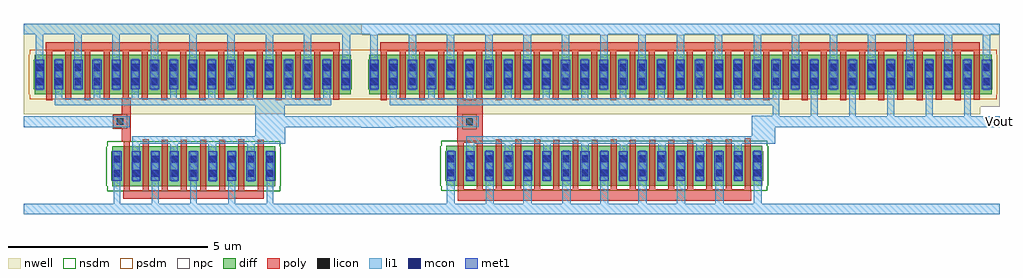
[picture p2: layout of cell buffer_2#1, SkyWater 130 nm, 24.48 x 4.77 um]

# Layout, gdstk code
import gdstk
lib = gdstk.Library(unit=1e-6, precision=1e-09)
def R(c, l, rs):  # rectangles x0, y0, x1, y1
    for r in rs: c.add(gdstk.rectangle(r[:2], r[2:], *l))
def A(c, l, x, y, w, h, nx, ny, dx, dy):  # array of equal rectangles
    R(c, l, [(x+i*dx, y+j*dy, x+i*dx+w, y+j*dy+h) for i in range(nx) for j in range(ny)])
nwell = (64, 20)
diff = (65, 20)
poly = (66, 20)
licon = (66, 44)
li1 = (67, 20)
mcon = (67, 44)
met1 = (68, 20)
nsdm = (93, 44)
psdm = (94, 20)
npc = (95, 20)

sky130_fd_pr__pfet_01v8_ = lib.new_cell('sky130_fd_pr__pfet_01v8_3M44SC')
R(sky130_fd_pr__pfet_01v8_, nwell, [(-8.005,-1,7.525,-0.81), (-8.005,-0.81,8.005,0.81), (-7.525,0.81,8.005,1)])
R(sky130_fd_pr__pfet_01v8_, diff, [(-7.805,-0.5,7.805,-0.37), (-7.825,-0.37,7.825,0.37), (-7.805,0.37,7.805,0.5)])
A(sky130_fd_pr__pfet_01v8_, poly, -7.515, -0.64, 0.15, 1.27, 16, 1, 0.96, 0)
A(sky130_fd_pr__pfet_01v8_, poly, -7.035, -0.63, 0.15, 1.28, 16, 1, 0.96, 0)
A(sky130_fd_pr__pfet_01v8_, licon, -7.765, -0.255, 0.17, 0.17, 33, 2, 0.48, 0.34)
A(sky130_fd_pr__pfet_01v8_, li1, -7.765, -0.39, 0.17, 0.78, 33, 1, 0.48, 0)
A(sky130_fd_pr__pfet_01v8_, mcon, -7.765, -0.265, 0.17, 0.17, 33, 2, 0.48, 0.36)
A(sky130_fd_pr__pfet_01v8_, met1, -7.795, -0.37, 0.23, 0.74, 33, 1, 0.48, 0)
R(sky130_fd_pr__pfet_01v8_, psdm, [(-7.93,-0.625,7.93,-0.495), (-7.95,-0.495,7.95,0.495), (-7.93,0.495,7.93,0.625)])

sky130_fd_pr__nfet_01v8_ = lib.new_cell('sky130_fd_pr__nfet_01v8_VJWT33')
R(sky130_fd_pr__nfet_01v8_, diff, [(-3.965,-0.5,3.965,-0.37), (-3.985,-0.37,3.985,0.37), (-3.965,0.37,3.965,0.5)])
A(sky130_fd_pr__nfet_01v8_, poly, -2.715, -0.59, 0.15, 1.26, 3, 1, 0.48, 0)
A(sky130_fd_pr__nfet_01v8_, poly, -1.275, -0.59, 0.15, 1.25, 3, 1, 0.48, 0)
A(sky130_fd_pr__nfet_01v8_, poly, 0.645, -0.59, 0.15, 1.25, 4, 1, 0.48, 0)
R(sky130_fd_pr__nfet_01v8_, poly, [(-3.675,-0.88,3.685,-0.59), (-3.675,-0.59,-3.525,0.63), (-3.195,-0.59,-3.045,0.66), (0.165,-0.59,0.315,0.67), (2.565,-0.59,2.715,0.67), (3.045,-0.59,3.195,0.67), (3.525,-0.59,3.675,0.69)])
A(sky130_fd_pr__nfet_01v8_, licon, -3.925, -0.255, 0.17, 0.17, 17, 2, 0.48, 0.34)
A(sky130_fd_pr__nfet_01v8_, li1, -3.445, -0.39, 0.17, 0.78, 8, 1, 0.96, 0)
R(sky130_fd_pr__nfet_01v8_, li1, [(-2.975,-1.09,-2.765,-0.36), (-2.025,-1.07,-1.815,-0.34), (-3.955,-1.05,-3.745,-0.32), (3.745,-1.05,3.955,-0.32), (-0.105,-1.04,0.105,-0.31), (0.855,-1.04,1.065,-0.31), (1.825,-1.02,2.035,-0.29), (2.785,-1.02,2.995,-0.29), (-1.055,-1.01,-0.845,-0.28), (-2.965,-0.36,-2.795,0.39), (-2.005,-0.34,-1.835,0.39), (-3.925,-0.32,-3.755,0.39), (3.755,-0.32,3.925,0.39), (-0.085,-0.31,0.085,0.39), (0.875,-0.31,1.045,0.39), (1.835,-0.29,2.005,0.39), (2.795,-0.29,2.965,0.39), (-1.045,-0.28,-0.875,0.39)])
A(sky130_fd_pr__nfet_01v8_, mcon, -3.925, -0.265, 0.17, 0.17, 17, 2, 0.48, 0.36)
A(sky130_fd_pr__nfet_01v8_, met1, -3.955, -0.37, 0.23, 0.74, 17, 1, 0.48, 0)
R(sky130_fd_pr__nfet_01v8_, nsdm, [(-4.09,-0.625,4.09,-0.495), (-4.11,-0.495,4.11,0.495), (-4.09,0.495,4.09,0.625)])

inv_w16 = lib.new_cell('inv_W16')
A(inv_w16, nwell, 4.49, 2.9, 0.17, 0.23, 3, 1, 1.92, 0)
R(inv_w16, nwell, [(2.99,2.73,9.29,2.9), (3.53,2.9,3.7,3.15), (5.45,2.9,5.62,3.15), (7.37,2.9,7.54,3.14), (0.41,4.07,15.44,4.3)])
R(inv_w16, poly, [(2.34,1.79,2.98,2.87), (0.41,4.08,15.44,4.31)])
R(inv_w16, licon, [(2.56,2.23,2.73,2.4)])
A(inv_w16, li1, 1.61, 2.9, 0.17, 0.25, 3, 1, 1.92, 0)
A(inv_w16, li1, 2.57, 2.9, 0.17, 0.23, 4, 1, 1.92, 0)
A(inv_w16, li1, 0.16, 3.85, 0.19, 0.66, 3, 1, 0.96, 0)
R(inv_w16, li1, [(-0.07,0,15.94,0.26), (3.53,1.5,3.72,1.77), (5.45,1.51,5.64,1.77), (4.5,1.52,4.69,1.77), (7.38,1.52,7.57,1.77), (6.41,1.54,6.6,1.77), (8.33,1.54,8.52,1.77), (9.29,1.54,9.48,1.77), (2.57,1.57,2.76,1.77), (2.56,1.77,10.31,1.95), (9.72,1.95,10.31,2.18), (-0.07,2.17,0.76,2.18), (-0.07,2.18,2.88,2.45), (9.72,2.18,15.94,2.46), (9.72,2.46,10.42,2.47), (11.21,2.46,11.38,3.17), (12.17,2.46,12.34,3.16), (13.13,2.46,13.3,3.15), (14.09,2.46,14.26,3.14), (15.05,2.46,15.22,3.16), (10.25,2.47,10.42,2.73), (0.64,2.73,10.42,2.9), (0.65,2.9,0.82,3.14), (7.37,2.9,7.54,3.14), (9.29,2.9,9.46,3.14), (10.25,2.9,10.42,3.16), (12.64,3.8,12.83,4.51), (4,3.83,4.19,4.51), (6.88,3.83,7.07,4.51), (8.8,3.83,8.99,4.51), (11.68,3.83,11.87,4.51), (13.6,3.83,13.79,4.51), (3.04,3.84,3.23,4.51), (4.96,3.84,5.15,4.51), (7.84,3.84,8.03,4.51), (9.77,3.84,9.96,4.51), (10.73,3.84,10.92,4.51), (14.56,3.84,14.75,4.51), (15.52,3.84,15.71,4.51), (5.93,3.85,6.12,4.51), (-0.07,4.51,15.94,4.77)])
R(inv_w16, npc, [(2.46,2.13,2.83,2.5)])
inv_w16.add(gdstk.Reference(sky130_fd_pr__pfet_01v8_, (7.935,3.5)))
inv_w16.add(gdstk.Reference(sky130_fd_pr__nfet_01v8_, (6.025,1.21)))

c_sky130_fd_pr__pfet_01v8_ = lib.new_cell('sky130_fd_pr__pfet_01v8_RL4NCG')
R(c_sky130_fd_pr__pfet_01v8_, nwell, [(-4.165,-1,3.685,-0.81), (-4.165,-0.81,4.165,0.81), (-3.685,0.81,4.165,1)])
R(c_sky130_fd_pr__pfet_01v8_, diff, [(-3.965,-0.5,3.965,-0.37), (-3.985,-0.37,3.985,0.37), (-3.965,0.37,3.965,0.5)])
A(c_sky130_fd_pr__pfet_01v8_, poly, -3.675, -0.64, 0.15, 1.27, 8, 1, 0.96, 0)
A(c_sky130_fd_pr__pfet_01v8_, poly, -3.195, -0.63, 0.15, 1.28, 8, 1, 0.96, 0)
A(c_sky130_fd_pr__pfet_01v8_, licon, -3.925, -0.255, 0.17, 0.17, 17, 2, 0.48, 0.34)
A(c_sky130_fd_pr__pfet_01v8_, li1, -3.925, -0.39, 0.17, 0.78, 17, 1, 0.48, 0)
A(c_sky130_fd_pr__pfet_01v8_, mcon, -3.925, -0.265, 0.17, 0.17, 17, 2, 0.48, 0.36)
A(c_sky130_fd_pr__pfet_01v8_, met1, -3.955, -0.37, 0.23, 0.74, 17, 1, 0.48, 0)
R(c_sky130_fd_pr__pfet_01v8_, psdm, [(-4.09,-0.625,4.09,-0.495), (-4.11,-0.495,4.11,0.495), (-4.09,0.495,4.09,0.625)])

c_sky130_fd_pr__nfet_01v8_ = lib.new_cell('sky130_fd_pr__nfet_01v8_KZU588')
R(c_sky130_fd_pr__nfet_01v8_, diff, [(-2.045,-0.5,2.045,-0.37), (-2.065,-0.37,2.065,0.37), (-2.045,0.37,2.045,0.5)])
A(c_sky130_fd_pr__nfet_01v8_, poly, -0.795, -0.6, 0.15, 1.27, 4, 1, 0.48, 0)
R(c_sky130_fd_pr__nfet_01v8_, poly, [(-1.765,-0.81,1.755,-0.6), (-1.755,-0.6,-1.605,0.68), (-1.275,-0.6,-1.125,0.68), (1.125,-0.6,1.275,0.68), (1.605,-0.6,1.755,0.67)])
A(c_sky130_fd_pr__nfet_01v8_, licon, -2.005, -0.255, 0.17, 0.17, 9, 2, 0.48, 0.34)
A(c_sky130_fd_pr__nfet_01v8_, li1, -2.005, -0.39, 0.17, 0.78, 9, 1, 0.48, 0)
R(c_sky130_fd_pr__nfet_01v8_, li1, [(1.605,0.58,1.755,0.67)])
A(c_sky130_fd_pr__nfet_01v8_, mcon, -2.005, -0.265, 0.17, 0.17, 9, 2, 0.48, 0.36)
A(c_sky130_fd_pr__nfet_01v8_, met1, -2.035, -0.37, 0.23, 0.74, 9, 1, 0.48, 0)
R(c_sky130_fd_pr__nfet_01v8_, nsdm, [(-2.17,-0.625,2.17,-0.495), (-2.19,-0.495,2.19,0.495), (-2.17,0.495,2.17,0.625)])

inv_w8 = lib.new_cell('inv_W8')
R(inv_w8, nwell, [(1.77,2.5,10.25,4.77)])
R(inv_w8, poly, [(4.24,1.82,4.46,2.15), (4.02,2.15,4.46,2.49), (4.24,2.49,4.46,2.92), (2.33,4.08,9.7,4.31)])
R(inv_w8, licon, [(4.105,2.235,4.275,2.405)])
A(inv_w8, li1, 2.57, 2.9, 0.17, 0.23, 4, 1, 1.92, 0)
R(inv_w8, li1, [(1.77,0,10.25,0.26), (4.03,0.26,4.2,0.84), (4.99,0.26,5.16,0.87), (5.95,0.26,6.12,0.84), (6.91,0.26,7.08,0.87), (7.87,0.26,8.04,0.85), (5.45,1.51,5.64,1.77), (4.5,1.52,4.69,1.77), (7.38,1.52,7.57,1.77), (6.41,1.54,6.6,1.77), (4.5,1.77,8.34,1.95), (7.58,1.95,8.34,2.18), (1.77,2.18,4.44,2.45), (7.58,2.18,10.25,2.46), (7.58,2.46,8.32,2.73), (2.56,2.73,9.49,2.9), (3.53,2.9,3.7,3.15), (5.45,2.9,5.62,3.15), (7.37,2.9,7.54,3.14), (9.29,2.9,9.46,3.14), (4,3.83,4.19,4.51), (6.88,3.83,7.07,4.51), (8.8,3.83,8.99,4.51), (3.04,3.84,3.23,4.51), (4.96,3.84,5.15,4.51), (7.84,3.84,8.03,4.51), (9.77,3.84,9.96,4.51), (2.08,3.85,2.27,4.51), (5.93,3.85,6.12,4.51), (1.77,4.51,10.25,4.77)])
R(inv_w8, npc, [(4.005,2.135,4.375,2.505)])
inv_w8.add(gdstk.Reference(c_sky130_fd_pr__pfet_01v8_, (6.015,3.5)))
inv_w8.add(gdstk.Reference(c_sky130_fd_pr__nfet_01v8_, (6.035,1.2)))

buffer_2_1 = lib.new_cell('buffer_2#1')
R(buffer_2_1, nwell, [(8.33,2.5,10.08,4.5)])
R(buffer_2_1, li1, [(24.25,2.18,24.48,2.46)])
R(buffer_2_1, psdm, [(8.335,2.875,8.545,3.005), (8.355,3.005,8.525,3.995), (8.335,3.995,8.545,4.125)])
buffer_2_1.add(gdstk.Reference(inv_w16, (8.54,0)))
buffer_2_1.add(gdstk.Reference(inv_w8, (-1.77,0)))
buffer_2_1.add(gdstk.Label('Vout', (24.48,2.32), layer=67, texttype=5))

lib.write_gds('buffer_2_1.gds')
